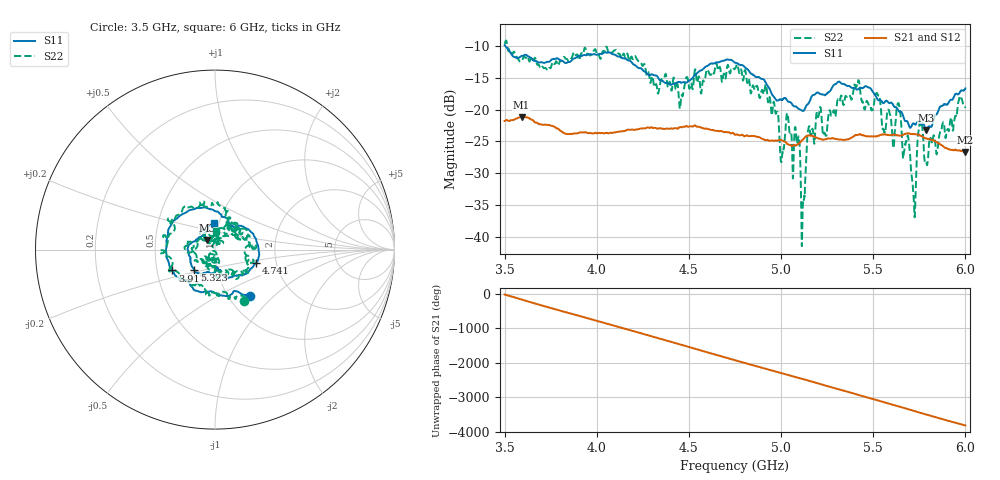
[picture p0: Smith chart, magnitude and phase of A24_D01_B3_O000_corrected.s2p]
! Created with skrf 1.9.0 (http://scikit-rf.org).
# Hz S RI R 50.0
!freq ReS11 ImS11 ReS21 ImS21 ReS12 ImS12 ReS22 ImS22
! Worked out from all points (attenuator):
!   1601 points, 3.5 GHz to 6 GHz, reference 50 ohm
!   highest |S21| = -21.15 dB at 3.592 GHz (marker M1); lowest = -26.7 dB at 6 GHz (marker M2)
!   lowest |S11| = -23.2 dB at 5.787 GHz (marker M3), VSWR 1.15, Z = 45.6 + j4.92 ohm
!   |S11| at or under -10 dB: 3.505 GHz to end of sweep
!   |S22| runs from -41.5 to -9.1 dB; largest |S21 - S12| = 0.0012
!   S11 on the Smith chart (normalised r, x): 3.5 GHz: 1.25, -0.72; 3.917 GHz: 0.60, -0.15; 4.741 GHz: 1.57, -0.24; 5.323 GHz: 0.77, -0.18; 6 GHz: 0.95, +0.28
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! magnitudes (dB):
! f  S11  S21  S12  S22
! 3.5 GHz  -9.8  -21.8  -21.8  -9.6
! 3.592 GHz  -11.6  -21.1  -21.2  -12.4
! 3.917 GHz  -11.6  -23.6  -23.6  -11.1
! 4.211 GHz  -13.1  -23.1  -23.2  -11.7
! 4.334 GHz  -15.1  -23.0  -23.0  -17.4
! 4.741 GHz  -12.4  -23.7  -23.7  -13.5
! 4.75 GHz  -12.6  -24.0  -23.9  -13.5
! 4.925 GHz  -16.2  -24.8  -24.8  -17.7
! 5.005 GHz  -18.4  -24.8  -24.9  -27.3
! 5.034 GHz  -18.6  -25.4  -25.4  -20.6
! 5.086 GHz  -19.6  -25.6  -25.6  -25.3
! 5.119 GHz  -20.2  -24.7  -24.6  -34.7
! 5.147 GHz  -19.1  -24.1  -24.1  -23.3
! 5.167 GHz  -17.9  -24.1  -24.1  -23.2
! 5.323 GHz  -15.8  -24.7  -24.7  -18.0
! 5.584 GHz  -19.0  -24.0  -24.0  -20.0
! 5.609 GHz  -19.3  -23.9  -23.9  -26.1
! 5.639 GHz  -20.3  -24.1  -24.1  -19.1
! 5.719 GHz  -22.2  -23.9  -23.8  -33.8
! 5.753 GHz  -22.1  -24.1  -24.1  -22.5
! 5.787 GHz  -23.2  -24.6  -24.5  -28.3
! 6 GHz  -16.7  -26.7  -26.6  -19.7
